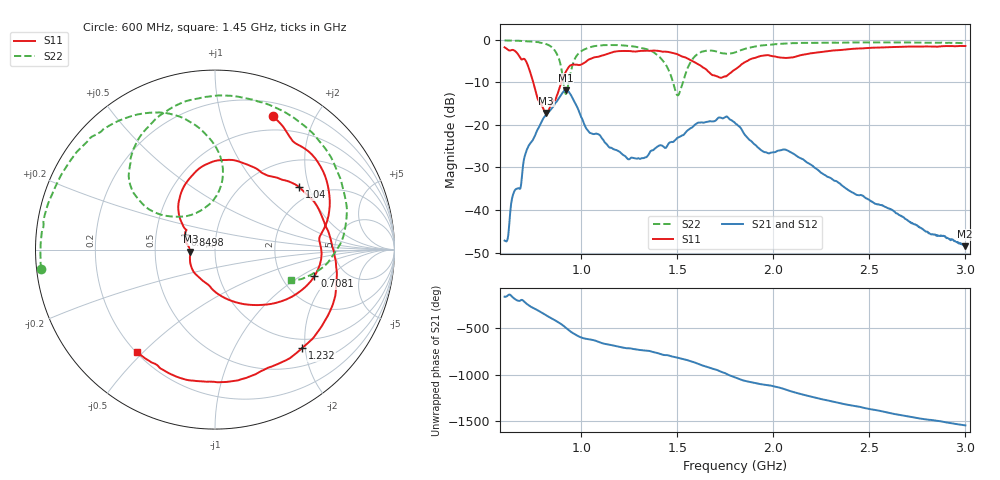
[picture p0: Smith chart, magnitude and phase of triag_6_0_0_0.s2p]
#  HZ  S  RI  R  50.00
! Rohde & Schwarz ZVB8 2Ports - Version 2.81 - 1145.1010k08 SN: 100113
! Date: 2016-05-03 01:37:00
! Measurements: S11 S21 S12 S22
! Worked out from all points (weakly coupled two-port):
!   1000 points, 600 MHz to 3 GHz, reference 50 ohm
!   highest |S21| = -11.88 dB at 919.5 MHz (marker M1); lowest = -48.5 dB at 2.998 GHz (marker M2)
!   lowest |S11| = -17.2 dB at 816.2 MHz (marker M3), VSWR 1.32, Z = 38 - j0.888 ohm
!   |S11| at or under -10 dB: 749 MHz to 895.6 MHz (146.6 MHz wide, 17.8 % of centre)
!   |S22| runs from -13.1 to -0.2 dB; largest |S21 - S12| = 0.0014
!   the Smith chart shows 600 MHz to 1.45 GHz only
!   S11 on the Smith chart (normalised r, x): 600 MHz: 0.34, +1.47; 708.1 MHz: 3.03, -1.35; 849.8 MHz: 0.71, +0.12; 1.04 GHz: 1.64, +1.73; 1.232 GHz: 0.81, -1.94; 1.45 GHz: 0.20, -0.48
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6e8  0.3217 0.7436  -0.00409 -0.00154  -0.00404 -0.00147  -0.9691 -0.1084
7.081081e8  0.554 -0.1489  -0.0322 0.0319  -0.0323 0.0317  -0.8865 0.3555
7.417417e8  0.186 -0.3067  0.00397 0.0634  0.00417 0.0632  -0.8045 0.4977
8.162162e8  -0.1368 -0.0115  0.1312 -0.00185  0.131 -0.00123  -0.4929 0.7346
8.498498e8  -0.1669 0.0815  0.1233 -0.1015  0.1235 -0.1011  -0.2537 0.7573
9.195195e8  -0.1409 0.3975  -0.1825 -0.1776  -0.1814 -0.1779  -0.1056 0.2036
1.001201e9  0.3056 0.4093  -0.0593 0.1048  -0.0598 0.1042  -0.4422 0.5853
1.03964e9  0.4696 0.3475  -0.0151 0.0806  -0.0153 0.0803  -0.3132 0.7428
1.231832e9  0.4847 -0.5503  0.0418 0.00385  0.0417 0.00393  0.5134 0.6772
1.4e9  -0.2478 -0.6932  0.0359 -0.0432  0.0359 -0.043  0.6437 -0.051
1.45045e9  -0.4349 -0.5694  0.0186 -0.0552  0.0188 -0.0549  0.4231 -0.1714
1.503303e9  -0.5555 -0.37  -0.0113 -0.0699  -0.0107 -0.0696  0.2209 0.0133
1.563363e9  -0.5592 -0.1566  -0.0598 -0.0661  -0.0595 -0.0661  0.4761 0.1996
1.637838e9  -0.4643 0.0113  -0.1052 0.0111  -0.1052 0.0106  0.7186 -0.1204
1.801201e9  -0.4467 0.00676  0.0692 0.0775  0.0686 0.0777  0.4861 -0.5132
1.933333e9  -0.5203 0.3734  0.0466 -0.0204  0.0465 -0.0201  0.2216 -0.8192
2.2e9  0.1626 0.6721  -0.0317 -0.011  -0.0316 -0.0112  -0.5635 -0.7213
2.416216e9  0.761 0.1624  -0.00363 0.0155  -0.00373 0.0154  -0.8838 -0.2671
2.601201e9  0.5824 -0.5677  0.00919 0.00489  0.00912 0.00496  -0.9097 0.1615
2.783784e9  -0.0742 -0.8243  0.00436 -0.0038  0.0044 -0.00378  -0.736 0.5508
2.997598e9  -0.7143 -0.441  -0.00125 -0.00354  -0.00116 -0.00367  -0.3329 0.8442
3e9  -0.7178 -0.4339  -0.00122 -0.00362  -0.00117 -0.00365  -0.326 0.8469
